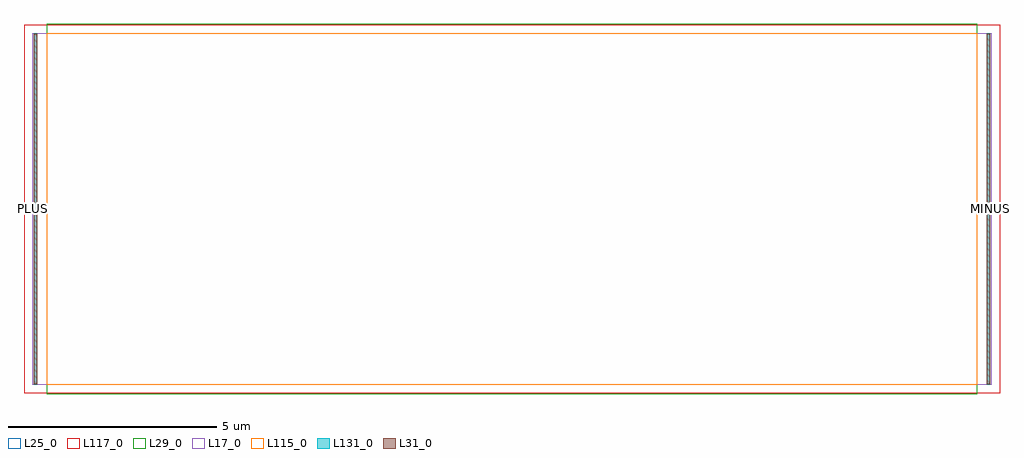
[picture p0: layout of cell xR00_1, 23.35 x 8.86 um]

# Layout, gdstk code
import gdstk
lib = gdstk.Library(unit=1e-6, precision=1e-09)
def R(c, l, rs):  # rectangles x0, y0, x1, y1
    for r in rs: c.add(gdstk.rectangle(r[:2], r[2:], *l))
L17_0 = (17, 0)
L25_0 = (25, 0)
L29_0 = (29, 0)
L31_0 = (31, 0)
L115_0 = (115, 0)
L117_0 = (117, 0)
L131_0 = (131, 0)

xr00_1 = lib.new_cell('xR00_1')
R(xr00_1, L17_0, [(0.2,0.22,23.15,8.64)])
R(xr00_1, L25_0, [(0,0.02,23.35,8.84)])
R(xr00_1, L29_0, [(0.54,0,22.81,8.86)])
R(xr00_1, L31_0, [(0.23,0.235,0.32,8.625), (23.03,0.235,23.12,8.625)])
R(xr00_1, L115_0, [(0.54,0.22,22.81,8.64)])
R(xr00_1, L117_0, [(0,0.02,23.35,8.84)])
R(xr00_1, L131_0, [(0.23,0.22,0.32,8.64), (23.03,0.22,23.12,8.64)])
xr00_1.add(gdstk.Label('PLUS', (0.23,4.445), layer=131, texttype=0))
xr00_1.add(gdstk.Label('MINUS', (23.12,4.445), layer=131, texttype=0))

lib.write_gds('xR00_1.gds')
